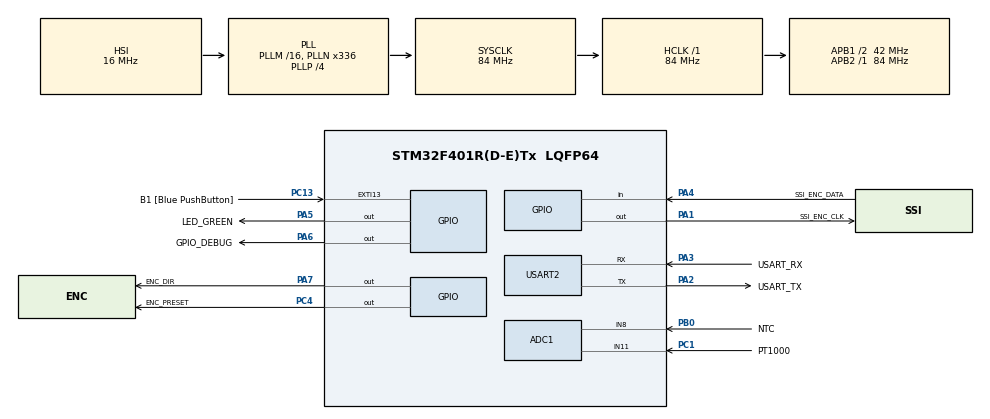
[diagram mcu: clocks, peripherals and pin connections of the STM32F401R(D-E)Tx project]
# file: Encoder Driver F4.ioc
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ADC1.Channel-0\#ChannelRegularConversion=ADC_CHANNEL_11
ADC1.ContinuousConvMode=DISABLE
ADC1.NbrOfConversion=1
ADC1.NbrOfConversionFlag=1
ADC1.Rank-0\#ChannelRegularConversion=1
ADC1.SamplingTime-0\#ChannelRegularConversion=ADC_SAMPLETIME_3CYCLES
ADC1.ScanConvMode=DISABLE
ADC1.master=1
Mcu.Family=STM32F4
Mcu.Name=STM32F401R(D-E)Tx
Mcu.Package=LQFP64
NVIC.EXTI15_10_IRQn=true\:0\:0\:false\:false\:true\:true\:true
NVIC.PriorityGroup=NVIC_PRIORITYGROUP_0
NVIC.TIM1_TRG_COM_TIM11_IRQn=true\:0\:0\:false\:false\:true\:true\:true
PA1.GPIO_Label=SSI_ENC_CLK
PA1.GPIO_PuPd=GPIO_PULLUP
PA1.Signal=GPIO_Output
PA13.GPIO_Label=TMS
PA13.Mode=Serial_Wire
PA13.Signal=SYS_JTMS-SWDIO
PA14.GPIO_Label=TCK
PA14.Mode=Serial_Wire
PA14.Signal=SYS_JTCK-SWCLK
PA2.GPIO_Label=USART_TX
PA2.GPIO_Mode=GPIO_MODE_AF_PP
PA2.GPIO_PuPd=GPIO_NOPULL
PA2.GPIO_Speed=GPIO_SPEED_FREQ_LOW
PA2.Mode=Asynchronous
PA2.Signal=USART2_TX
PA3.GPIO_Label=USART_RX
PA3.GPIO_Mode=GPIO_MODE_AF_PP
PA3.GPIO_PuPd=GPIO_NOPULL
PA3.GPIO_Speed=GPIO_SPEED_FREQ_LOW
PA3.Mode=Asynchronous
PA3.Signal=USART2_RX
PA4.GPIO_Label=SSI_ENC_DATA
PA4.Signal=GPIO_Input
PA5.GPIO_Label=LED_GREEN
PA5.GPIO_Mode=GPIO_MODE_OUTPUT_PP
PA5.GPIO_PuPd=GPIO_NOPULL
PA5.GPIO_Speed=GPIO_SPEED_FREQ_LOW
PA5.Signal=GPIO_Output
PA6.GPIO_Label=GPIO_DEBUG
PA6.Signal=GPIO_Output
PA7.GPIO_Label=ENC_DIR
PA7.Signal=GPIO_Output
PB0.GPIO_Label=NTC
PB0.Signal=ADCx_IN8
PB3.GPIO_Label=SWO
PB3.Signal=SYS_JTDO-SWO
PC1.GPIO_Label=PT1000
PC1.Signal=ADCx_IN11
PC13-ANTI_TAMP.GPIO_Label=B1 [Blue PushButton]
PC13-ANTI_TAMP.GPIO_ModeDefaultEXTI=GPIO_MODE_IT_FALLING
PC13-ANTI_TAMP.GPIO_PuPd=GPIO_NOPULL
PC13-ANTI_TAMP.Signal=GPXTI13
PC14-OSC32_IN.Mode=LSE-External-Oscillator
PC14-OSC32_IN.Signal=RCC_OSC32_IN
PC15-OSC32_OUT.Mode=LSE-External-Oscillator
PC15-OSC32_OUT.Signal=RCC_OSC32_OUT
PC4.GPIO_Label=ENC_PRESET
PC4.Signal=GPIO_Output
PH0\ -\ OSC_IN.Mode=HSE-External-Clock-Source
PH0\ -\ OSC_IN.Signal=RCC_OSC_IN
PH1\ -\ OSC_OUT.Mode=HSE-External-Clock-Source
PH1\ -\ OSC_OUT.Signal=RCC_OSC_OUT
ProjectManager.HeapSize=0x200
ProjectManager.StackSize=0x400
ProjectManager.TargetToolchain=STM32CubeIDE
RCC.48MHZClocksFreq_Value=48000000
RCC.AHBFreq_Value=84000000
RCC.APB1CLKDivider=RCC_HCLK_DIV2
RCC.APB1Freq_Value=42000000
RCC.APB1TimFreq_Value=84000000
RCC.APB2Freq_Value=84000000
RCC.APB2TimFreq_Value=84000000
RCC.CortexFreq_Value=84000000
RCC.HCLKFreq_Value=84000000
RCC.HSE_VALUE=8000000
RCC.HSI_VALUE=16000000
RCC.PLLN=336
RCC.PLLP=RCC_PLLP_DIV4
RCC.PLLQ=7
RCC.SYSCLKFreq_VALUE=84000000
RCC.SYSCLKSource=RCC_SYSCLKSOURCE_PLLCLK
RCC.VCOOutputFreq_Value=336000000
SH.ADCx_IN11.0=ADC1_IN11,IN11
SH.ADCx_IN8.0=ADC1_IN8,IN8
TIM11.Period=2
TIM11.Prescaler=83
USART2.VirtualMode=VM_ASYNC
VP_TIM11_VS_ClockSourceINT.Mode=Enable_Timer
board=NUCLEO-F401RE

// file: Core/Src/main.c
/* USER CODE BEGIN Header */
/**
 ******************************************************************************
 * @file           : main.c
 * @brief          : Main program body
 ******************************************************************************
 * @attention
 *
 * <h2><center>&copy; Copyright (c) 2022 STMicroelectronics.
 * All rights reserved.</center></h2>
 *
 * This software component is licensed by ST under BSD 3-Clause license,
 * the "License"; You may not use this file except in compliance with the
 * License. You may obtain a copy of the License at:
 *                        opensource.org/licenses/BSD-3-Clause
 *
 ******************************************************************************
 * WDGA 36A-06-1312-SIA-B01-CB8 - Magnetic Absolute Encoder Binary/SSI 25 BIT
 *	13 BIT SINGLETURN
 *	12 BIT MULTITURN
 TODO dal clock dello ioc calcolare in automatico la frewuenza del clock generato
 */
/* USER CODE END Header */
#include "main.h"
#include "adc.h"
#include "tim.h"
#include "usart.h"
#include "gpio.h"

/* USER CODE BEGIN Includes */
#include <stdio.h>
#include <string.h>
#include "ntc.h"
#include "ptc.h"
/* USER CODE END Includes */

/* USER CODE BEGIN PD */
//#define WORK
#define TRUE   1
#define FALSE   0
#define ENC_BITs   27  // 13 multiturn, 12 angle, 2 stop-bits
#define AVG_MEAS    3
#define ENC_BUFF_SIZE   80

/* USER CODE END PD */

/* USER CODE BEGIN PV */
uint32_t enc_clk_count = 0;
uint32_t enc_bits[AVG_MEAS];
uint8_t ping = TRUE;
uint8_t sampl_cycles = 3;
uint8_t i = 0;
uint32_t angle[AVG_MEAS];
uint16_t turn[AVG_MEAS];
uint8_t tx_buff[ENC_BUFF_SIZE];
uint8_t tx_ENC_BUFF_SIZE;
/* USER CODE END PV */

void SystemClock_Config(void);
/* USER CODE BEGIN PFP */
//void setInitialClockState( GPIO_PinState PinState);
//void runClock();
//void readEncoderBit(GPIO_TypeDef*, uint16_t);
//void println(UART_HandleTypeDef *, char[]);
//void nop(uint16_t);
void getTemperature();
/* USER CODE END PFP */

/* USER CODE BEGIN 0 */
typedef struct{
	uint64_t totalBits;
	uint64_t STbits;
	uint64_t MTbits;
} encoderStruct;

encoderStruct encoder;
/* USER CODE END 0 */

int main(void)
{

	/* MCU Configuration--------------------------------------------------------*/

	/* Reset of all peripherals, Initializes the Flash interface and the Systick. */
	HAL_Init();

	/* Configure the system clock */
	SystemClock_Config();

	/* Initialize all configured peripherals */
	MX_GPIO_Init();
	MX_USART2_UART_Init();
	MX_TIM11_Init();
	MX_ADC1_Init();
	/* USER CODE BEGIN 2 */
	//setInitialClockState(GPIO_PIN_SET);

	//println(&huart2, "HELLO! \r\n");
	//println(&huart2, "------------------------------");

	memset(tx_buff, (uint8_t)0x0, sizeof(uint8_t)*ENC_BUFF_SIZE);
	memset(enc_bits,(uint8_t)0x0, sizeof(uint32_t)*AVG_MEAS);
	tx_ENC_BUFF_SIZE = (uint8_t) sprintf((char *) tx_buff, "Hello\n\r");
	HAL_UART_Transmit(&huart2, (uint8_t*)tx_buff, tx_ENC_BUFF_SIZE, 500);

	// Set initial encoder position to 0
	HAL_GPIO_WritePin(ENC_PRESET_GPIO_Port, ENC_PRESET_Pin, GPIO_PIN_SET);
	HAL_Delay(2500);
	HAL_GPIO_WritePin(ENC_PRESET_GPIO_Port, ENC_PRESET_Pin, GPIO_PIN_RESET);
	HAL_Delay(500);

	/* USER CODE END 2 */

	/* Infinite loop */
	/* USER CODE BEGIN WHILE */
	while (1)
	{

		getTemperature();
		HAL_Delay(500);

		/* USER CODE END WHILE */

		/* USER CODE BEGIN 3 */
		memset(enc_bits,(uint8_t)0x0, sizeof(uint32_t)*AVG_MEAS);

		    for (i = 0; i < AVG_MEAS; i++)
		    {
		      ping = TRUE;
		      enc_clk_count = 0;
		      HAL_TIM_Base_Start_IT(&htim11);

		      while (enc_clk_count < (ENC_BITs * 4) )
		      {
		        while (ping){}

		        if ((enc_clk_count % 4) == 0)
		        {
		          HAL_GPIO_TogglePin(GPIO_DEBUG_GPIO_Port, GPIO_DEBUG_Pin);
		          enc_bits[i] <<= 1;
		          enc_bits[i] |= ( ((uint32_t) HAL_GPIO_ReadPin(SSI_ENC_DATA_GPIO_Port, SSI_ENC_DATA_Pin)) & 0x00000001);
		          HAL_GPIO_TogglePin(GPIO_DEBUG_GPIO_Port, GPIO_DEBUG_Pin);
		        }
		        else if ((enc_clk_count % 2) == 0)
		        {}
		        else
		        {
		          HAL_GPIO_TogglePin(SSI_ENC_CLK_GPIO_Port, SSI_ENC_CLK_Pin);
		        }
		        ping = TRUE;
		      }

		      HAL_GPIO_WritePin(SSI_ENC_CLK_GPIO_Port, SSI_ENC_CLK_Pin, GPIO_PIN_SET);
		      HAL_TIM_Base_Stop_IT(&htim11);
		      HAL_Delay(5);
		    }

		    for (i = 0; i < AVG_MEAS; i++)
		    {
		      enc_bits[i] >>= 2;
		      //13 bits angle
		      angle[i] = (int32_t) ((enc_bits[i] & 0x00001FFF) * 44); // 360 / 2^13 * 1000 = 44 [mDeg]
		      //12 bits multi-turn
		      turn[i]  = (int16_t)((enc_bits[i] & 0x01FFE000) >> 13);
		    }
		    tx_ENC_BUFF_SIZE = (uint8_t) sprintf((char *) tx_buff, "RES:\n\r%lu|%lu|%lu mDeg\n\r%u|%u|%u turns\n\r",
		                          angle[0], angle[1], angle[2], turn[0], turn[1], turn[2]);
		    HAL_UART_Transmit(&huart2, (uint8_t*)tx_buff, tx_ENC_BUFF_SIZE, 1000);
		    HAL_Delay(500);

	}
	/* USER CODE END 3 */
}

void SystemClock_Config(void)
{
	RCC_OscInitTypeDef RCC_OscInitStruct = {0};
	RCC_ClkInitTypeDef RCC_ClkInitStruct = {0};

	/** Configure the main internal regulator output voltage
	 */
	__HAL_RCC_PWR_CLK_ENABLE();
	__HAL_PWR_VOLTAGESCALING_CONFIG(PWR_REGULATOR_VOLTAGE_SCALE2);
	/** Initializes the RCC Oscillators according to the specified parameters
	 * in the RCC_OscInitTypeDef structure.
	 */
	RCC_OscInitStruct.OscillatorType = RCC_OSCILLATORTYPE_HSI;
	RCC_OscInitStruct.HSIState = RCC_HSI_ON;
	RCC_OscInitStruct.HSICalibrationValue = RCC_HSICALIBRATION_DEFAULT;
	RCC_OscInitStruct.PLL.PLLState = RCC_PLL_ON;
	RCC_OscInitStruct.PLL.PLLSource = RCC_PLLSOURCE_HSI;
	RCC_OscInitStruct.PLL.PLLM = 16;
	RCC_OscInitStruct.PLL.PLLN = 336;
	RCC_OscInitStruct.PLL.PLLP = RCC_PLLP_DIV4;
	RCC_OscInitStruct.PLL.PLLQ = 7;
	if (HAL_RCC_OscConfig(&RCC_OscInitStruct) != HAL_OK)
	{
		Error_Handler();
	}
	/** Initializes the CPU, AHB and APB buses clocks
	 */
	RCC_ClkInitStruct.ClockType = RCC_CLOCKTYPE_HCLK|RCC_CLOCKTYPE_SYSCLK
			|RCC_CLOCKTYPE_PCLK1|RCC_CLOCKTYPE_PCLK2;
	RCC_ClkInitStruct.SYSCLKSource = RCC_SYSCLKSOURCE_PLLCLK;
	RCC_ClkInitStruct.AHBCLKDivider = RCC_SYSCLK_DIV1;
	RCC_ClkInitStruct.APB1CLKDivider = RCC_HCLK_DIV2;
	RCC_ClkInitStruct.APB2CLKDivider = RCC_HCLK_DIV1;

	if (HAL_RCC_ClockConfig(&RCC_ClkInitStruct, FLASH_LATENCY_2) != HAL_OK)
	{
		Error_Handler();
	}
}

/* USER CODE BEGIN 4 */
void HAL_TIM_PeriodElapsedCallback(TIM_HandleTypeDef *htim)
{
	if(htim->Instance == TIM11)
	{
		enc_clk_count++;
		ping = FALSE;
	}
}

#ifdef WORK
void setInitialClockState( GPIO_PinState PinState){
	if(PinState==GPIO_PIN_RESET || PinState==GPIO_PIN_SET){
		HAL_GPIO_WritePin(SSI_CLK_GPIO_Port,  SSI_CLK_Pin, PinState);
	}else{
		printf("error");
	}
}

void runClock(){
	// Inizio trasmissione
	encoder.totalBits = 0U;
	for(int i=0; i<N_BIT; i++) {
		HAL_GPIO_WritePin(SSI_CLK_GPIO_Port, SSI_CLK_Pin, GPIO_PIN_RESET);
		nop(4);
		HAL_GPIO_WritePin(SSI_CLK_GPIO_Port, SSI_CLK_Pin, GPIO_PIN_SET);
		nop(6);
		HAL_GPIO_WritePin(DEBUG_LINE_GPIO_Port, DEBUG_LINE_Pin, GPIO_PIN_SET);
		readEncoderBit(DATA_IN_GPIO_Port, DATA_IN_Pin);
		HAL_GPIO_WritePin(DEBUG_LINE_GPIO_Port, DEBUG_LINE_Pin, GPIO_PIN_RESET);
		nop(2);
		//HAL_GPIO_WritePin(SSI_CLK_GPIO_Port, SSI_CLK_Pin, GPIO_PIN_RESET);
		//nop(1);
	}
	HAL_GPIO_WritePin(SSI_CLK_GPIO_Port, SSI_CLK_Pin, GPIO_PIN_SET);
	//encoder.STbits = (encoder.totalBits & 0x1FFF000) >> 12; //primi 13 bit di maschera Single turn
	//encoder.MTbits = (encoder.totalBits & 0xFFF); //12 bit di maschera Multi turn
	//printf(".");
	//println(&huart2, stbit);
}

void readEncoderBit(GPIO_TypeDef* GPIOx, uint16_t GPIO_Pin){
	encoder.totalBits <<= 1;
	if(HAL_GPIO_ReadPin(GPIOx, GPIO_Pin) == GPIO_PIN_SET){
		encoder.totalBits |= 1;
	}
}
void println(UART_HandleTypeDef *huart, char out[]){
	HAL_UART_Transmit(huart, (uint8_t *) out, strlen(out), 10);
	char newline[2] = "\r\n";
	HAL_UART_Transmit(huart, (uint8_t *) newline, 2, 10);
}

void nop(uint16_t N){
	for(int i=0; i<N; i++){
		__asm("nop"); //1/84Mhz=1.25x10e-8s
	}
}

void getSample(){

}
#endif

void getTemperature(){
	double ptc_volt = get_ptc_volt(&hadc1, 200);
	get_ptc_temp_zone(ptc_volt);
	HAL_Delay(1000);

	double ntc_volt = get_ntc_volt(&hadc1, 200);
	get_ntc_temp_zone(ntc_volt);
	HAL_Delay(1000);
	// println(&huart2, "------------------------------");
}
/* USER CODE END 4 */

void Error_Handler(void)
{
	__disable_irq();
	while (1)
	{
	}
}
